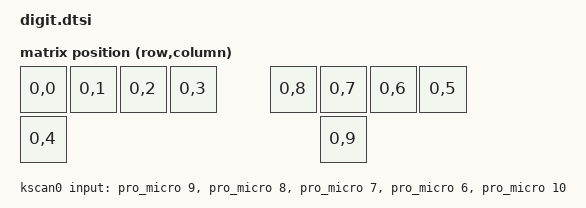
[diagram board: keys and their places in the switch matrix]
#include <dt-bindings/zmk/matrix_transform.h>

/ {

	chosen {
		zmk,kscan = &kscan0;
		zmk,matrix_transform = &default_transform;
	};

	default_transform: keymap_transform_0 {
		compatible = "zmk,matrix-transform";
		columns = <10>;
		rows = <1>;
		map = <
		RC(0,0)  RC(0,1)  RC(0,2)  RC(0,3)  			RC(0,8) RC(0,7) RC(0,6) RC(0,5)
		RC(0,4)                                                 RC(0,9)
		>;
	};

	kscan0: kscan {
		compatible = "zmk,kscan-gpio-direct";
		label = "KSCAN";
		input-gpios
		= <&pro_micro 9 (GPIO_ACTIVE_LOW | GPIO_PULL_UP)>
		, <&pro_micro 8 (GPIO_ACTIVE_LOW | GPIO_PULL_UP)>
		, <&pro_micro 7 (GPIO_ACTIVE_LOW | GPIO_PULL_UP)>
		, <&pro_micro 6 (GPIO_ACTIVE_LOW | GPIO_PULL_UP)>
		, <&pro_micro 10 (GPIO_ACTIVE_LOW | GPIO_PULL_UP)>
		;
	};

};
